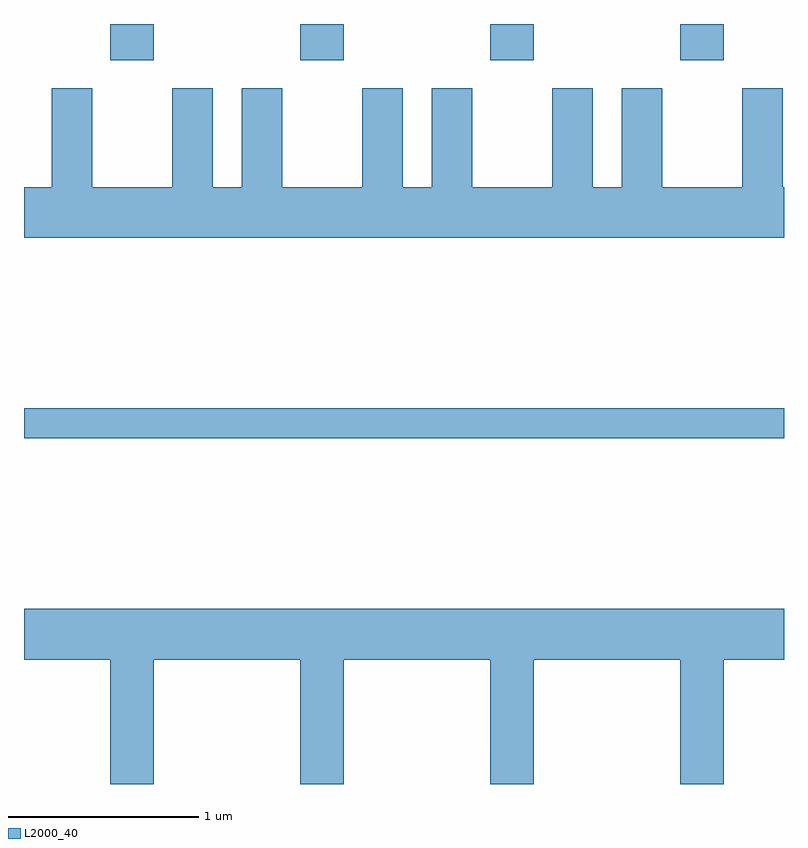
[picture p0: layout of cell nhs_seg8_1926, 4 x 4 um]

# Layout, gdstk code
import gdstk
lib = gdstk.Library(unit=1e-6, precision=1e-09)
def R(c, l, rs):  # rectangles x0, y0, x1, y1
    for r in rs: c.add(gdstk.rectangle(r[:2], r[2:], *l))
def A(c, l, x, y, w, h, nx, ny, dx, dy):  # array of equal rectangles
    R(c, l, [(x+i*dx, y+j*dy, x+i*dx+w, y+j*dy+h) for i in range(nx) for j in range(ny)])
def P(c, l, *ps):  # polygons
    for p in ps: c.add(gdstk.Polygon(p, *l))
L2000_40 = (2000, 40)

nhs_seg8_1926 = lib.new_cell('nhs_seg8_1926')
A(nhs_seg8_1926, L2000_40, 242.066, 1926.151, 0.228, 0.191, 4, 1, 1, 0)
R(nhs_seg8_1926, L2000_40, [(241.611,1924.161,245.611,1924.319)])
P(nhs_seg8_1926, L2000_40, [(245.611,1925.484),(245.604,1925.484),(245.604,1926.004),(245.391,1926.004),(245.391,1925.484),(244.969,1925.484),(244.969,1926.004),(244.756,1926.004),(244.756,1925.484),(244.604,1925.484),(244.604,1926.004),(244.391,1926.004),(244.391,1925.484),(243.969,1925.484),(243.969,1926.004),(243.756,1926.004),(243.756,1925.484),(243.604,1925.484),(243.604,1926.004),(243.391,1926.004),(243.391,1925.484),(242.969,1925.484),(242.969,1926.004),(242.756,1926.004),(242.756,1925.484),(242.604,1925.484),(242.604,1926.004),(242.391,1926.004),(242.391,1925.484),(241.969,1925.484),(241.969,1926.004),(241.756,1926.004),(241.756,1925.484),(241.611,1925.484),(241.611,1925.216),(245.611,1925.216)],
  [(242.294,1922.996),(243.066,1922.996),(243.066,1922.342),(243.294,1922.342),(243.294,1922.996),(244.066,1922.996),(244.066,1922.342),(244.294,1922.342),(244.294,1922.996),(245.066,1922.996),(245.066,1922.342),(245.294,1922.342),(245.294,1922.996),(245.611,1922.996),(245.611,1923.264),(241.611,1923.264),(241.611,1922.996),(242.066,1922.996),(242.066,1922.342),(242.294,1922.342)])

lib.write_gds('nhs_seg8_1926.gds')
